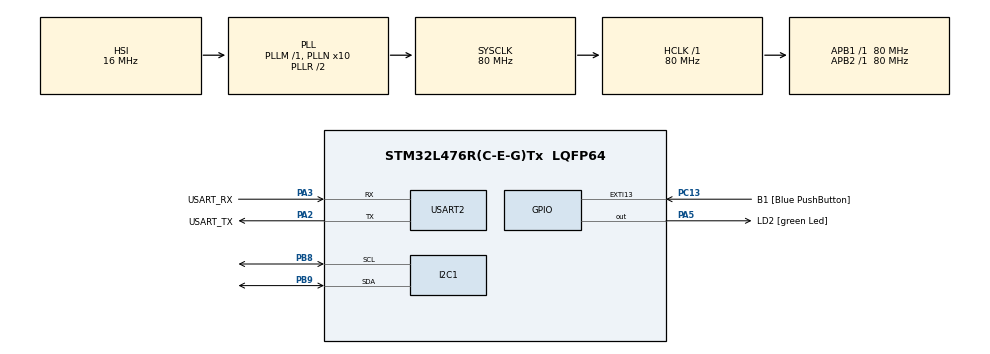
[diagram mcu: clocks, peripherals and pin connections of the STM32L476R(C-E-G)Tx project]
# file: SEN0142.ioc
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I2C1.Timing=0x00503D58
Mcu.Family=STM32L4
Mcu.Name=STM32L476R(C-E-G)Tx
Mcu.Package=LQFP64
NVIC.PriorityGroup=NVIC_PRIORITYGROUP_4
PA13\ (JTMS-SWDIO).GPIO_Label=TMS
PA13\ (JTMS-SWDIO).Mode=Serial_Wire
PA13\ (JTMS-SWDIO).Signal=SYS_JTMS-SWDIO
PA14\ (JTCK-SWCLK).GPIO_Label=TCK
PA14\ (JTCK-SWCLK).Mode=Serial_Wire
PA14\ (JTCK-SWCLK).Signal=SYS_JTCK-SWCLK
PA2.GPIO_Label=USART_TX
PA2.GPIO_Mode=GPIO_MODE_AF_PP
PA2.GPIO_PuPd=GPIO_NOPULL
PA2.GPIO_Speed=GPIO_SPEED_FREQ_VERY_HIGH
PA2.Mode=Asynchronous
PA2.Signal=USART2_TX
PA3.GPIO_Label=USART_RX
PA3.GPIO_Mode=GPIO_MODE_AF_PP
PA3.GPIO_PuPd=GPIO_NOPULL
PA3.GPIO_Speed=GPIO_SPEED_FREQ_VERY_HIGH
PA3.Mode=Asynchronous
PA3.Signal=USART2_RX
PA5.GPIO_Label=LD2 [green Led]
PA5.GPIO_ModeDefaultOutputPP=GPIO_MODE_OUTPUT_PP
PA5.GPIO_PuPd=GPIO_NOPULL
PA5.GPIO_Speed=GPIO_SPEED_FREQ_LOW
PA5.Signal=GPIO_Output
PB3\ (JTDO-TRACESWO).GPIO_Label=SWO
PB3\ (JTDO-TRACESWO).Signal=SYS_JTDO-SWO
PB8.Mode=I2C
PB8.Signal=I2C1_SCL
PB9.Mode=I2C
PB9.Signal=I2C1_SDA
PC13.GPIO_Label=B1 [Blue PushButton]
PC13.GPIO_ModeDefaultEXTI=GPIO_MODE_IT_FALLING
PC13.GPIO_PuPd=GPIO_NOPULL
PC13.Signal=GPXTI13
PC14-OSC32_IN\ (PC14).Mode=LSE-External-Oscillator
PC14-OSC32_IN\ (PC14).Signal=RCC_OSC32_IN
PC15-OSC32_OUT\ (PC15).Mode=LSE-External-Oscillator
PC15-OSC32_OUT\ (PC15).Signal=RCC_OSC32_OUT
PH0-OSC_IN\ (PH0).Signal=RCC_OSC_IN
PH1-OSC_OUT\ (PH1).Signal=RCC_OSC_OUT
ProjectManager.HeapSize=0x200
ProjectManager.StackSize=0x400
ProjectManager.TargetToolchain=STM32CubeIDE
RCC.ADCFreq_Value=64000000
RCC.AHBFreq_Value=80000000
RCC.APB1Freq_Value=80000000
RCC.APB1TimFreq_Value=80000000
RCC.APB2Freq_Value=80000000
RCC.APB2TimFreq_Value=80000000
RCC.CortexFreq_Value=80000000
RCC.HCLKFreq_Value=80000000
RCC.HSE_VALUE=8000000
RCC.HSI_VALUE=16000000
RCC.I2C1CLockSelection=RCC_I2C1CLKSOURCE_HSI
RCC.MSI_VALUE=4000000
RCC.PLLN=10
RCC.PLLSourceVirtual=RCC_PLLSOURCE_HSI
RCC.PREFETCH_ENABLE=1
RCC.SYSCLKFreq_VALUE=80000000
RCC.SYSCLKSource=RCC_SYSCLKSOURCE_PLLCLK
RCC.USBFreq_Value=64000000
RCC.VCOOutputFreq_Value=160000000
USART2.VirtualMode-Asynchronous=VM_ASYNC
board=NUCLEO-L476RG

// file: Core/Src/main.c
/* USER CODE BEGIN Header */
/**
  ******************************************************************************
  * @file           : main.c
  * @brief          : Main program body
  ******************************************************************************
  * @attention
  *
  * Copyright (c) 2026 STMicroelectronics.
  * All rights reserved.
  *
  * This software is licensed under terms that can be found in the LICENSE file
  * in the root directory of this software component.
  * If no LICENSE file comes with this software, it is provided AS-IS.
  *
  ******************************************************************************
  */
/* USER CODE END Header */
#include "main.h"

/* USER CODE BEGIN Includes */
#include "SEN0142.h"
#include "stdio.h"
#include "string.h"

/* USER CODE END Includes */

I2C_HandleTypeDef hi2c1;

UART_HandleTypeDef huart2;

/* USER CODE BEGIN PV */
float Ax, Ay, Az;
float Gx, Gy, Gz;
float temperature;

/* USER CODE END PV */

void SystemClock_Config(void);
static void MX_GPIO_Init(void);
static void MX_USART2_UART_Init(void);
static void MX_I2C1_Init(void);

int main(void)
{

  /* MCU Configuration--------------------------------------------------------*/

  /* Reset of all peripherals, Initializes the Flash interface and the Systick. */
  HAL_Init();

  /* Configure the system clock */
  SystemClock_Config();

  /* Initialize all configured peripherals */
  MX_GPIO_Init();
  MX_USART2_UART_Init();
  MX_I2C1_Init();
  /* USER CODE BEGIN 2 */

  MPU6050_Init();

  char msg[200];

  /* USER CODE END 2 */

  /* Infinite loop */
  while (1)
  {

    /* USER CODE BEGIN 3 */
	  MPU6050_Read_Accel(&Ax, &Ay, &Az);
	  MPU6050_Read_Gyro(&Gx, &Gy, &Gz);
	  MPU6050_Read_Temp(&temperature);

	  snprintf(msg, sizeof(msg),
	               "Accel: X=%.2f Y=%.2f Z=%.2f | Gyro: X=%.1f Y=%.1f Z=%.1f | Temp=%.2f\r\n",
	               Ax, Ay, Az, Gx, Gy, Gz, temperature);

	  HAL_UART_Transmit(&huart2, (uint8_t*)msg, strlen(msg), 100);

	  HAL_Delay(500);
  }
  /* USER CODE END 3 */
}

void SystemClock_Config(void)
{
  RCC_OscInitTypeDef RCC_OscInitStruct = {0};
  RCC_ClkInitTypeDef RCC_ClkInitStruct = {0};

  /** Configure the main internal regulator output voltage
  */
  if (HAL_PWREx_ControlVoltageScaling(PWR_REGULATOR_VOLTAGE_SCALE1) != HAL_OK)
  {
    Error_Handler();
  }

  /** Initializes the RCC Oscillators according to the specified parameters
  * in the RCC_OscInitTypeDef structure.
  */
  RCC_OscInitStruct.OscillatorType = RCC_OSCILLATORTYPE_HSI;
  RCC_OscInitStruct.HSIState = RCC_HSI_ON;
  RCC_OscInitStruct.HSICalibrationValue = RCC_HSICALIBRATION_DEFAULT;
  RCC_OscInitStruct.PLL.PLLState = RCC_PLL_ON;
  RCC_OscInitStruct.PLL.PLLSource = RCC_PLLSOURCE_HSI;
  RCC_OscInitStruct.PLL.PLLM = 1;
  RCC_OscInitStruct.PLL.PLLN = 10;
  RCC_OscInitStruct.PLL.PLLP = RCC_PLLP_DIV7;
  RCC_OscInitStruct.PLL.PLLQ = RCC_PLLQ_DIV2;
  RCC_OscInitStruct.PLL.PLLR = RCC_PLLR_DIV2;
  if (HAL_RCC_OscConfig(&RCC_OscInitStruct) != HAL_OK)
  {
    Error_Handler();
  }

  /** Initializes the CPU, AHB and APB buses clocks
  */
  RCC_ClkInitStruct.ClockType = RCC_CLOCKTYPE_HCLK|RCC_CLOCKTYPE_SYSCLK
                              |RCC_CLOCKTYPE_PCLK1|RCC_CLOCKTYPE_PCLK2;
  RCC_ClkInitStruct.SYSCLKSource = RCC_SYSCLKSOURCE_PLLCLK;
  RCC_ClkInitStruct.AHBCLKDivider = RCC_SYSCLK_DIV1;
  RCC_ClkInitStruct.APB1CLKDivider = RCC_HCLK_DIV1;
  RCC_ClkInitStruct.APB2CLKDivider = RCC_HCLK_DIV1;

  if (HAL_RCC_ClockConfig(&RCC_ClkInitStruct, FLASH_LATENCY_4) != HAL_OK)
  {
    Error_Handler();
  }
}

static void MX_I2C1_Init(void)
{

  hi2c1.Instance = I2C1;
  hi2c1.Init.Timing = 0x00503D58;
  hi2c1.Init.OwnAddress1 = 0;
  hi2c1.Init.AddressingMode = I2C_ADDRESSINGMODE_7BIT;
  hi2c1.Init.DualAddressMode = I2C_DUALADDRESS_DISABLE;
  hi2c1.Init.OwnAddress2 = 0;
  hi2c1.Init.OwnAddress2Masks = I2C_OA2_NOMASK;
  hi2c1.Init.GeneralCallMode = I2C_GENERALCALL_DISABLE;
  hi2c1.Init.NoStretchMode = I2C_NOSTRETCH_DISABLE;
  if (HAL_I2C_Init(&hi2c1) != HAL_OK)
  {
    Error_Handler();
  }

  /** Configure Analogue filter
  */
  if (HAL_I2CEx_ConfigAnalogFilter(&hi2c1, I2C_ANALOGFILTER_ENABLE) != HAL_OK)
  {
    Error_Handler();
  }

  /** Configure Digital filter
  */
  if (HAL_I2CEx_ConfigDigitalFilter(&hi2c1, 0) != HAL_OK)
  {
    Error_Handler();
  }

}

static void MX_USART2_UART_Init(void)
{

  huart2.Instance = USART2;
  huart2.Init.BaudRate = 115200;
  huart2.Init.WordLength = UART_WORDLENGTH_8B;
  huart2.Init.StopBits = UART_STOPBITS_1;
  huart2.Init.Parity = UART_PARITY_NONE;
  huart2.Init.Mode = UART_MODE_TX_RX;
  huart2.Init.HwFlowCtl = UART_HWCONTROL_NONE;
  huart2.Init.OverSampling = UART_OVERSAMPLING_16;
  huart2.Init.OneBitSampling = UART_ONE_BIT_SAMPLE_DISABLE;
  huart2.AdvancedInit.AdvFeatureInit = UART_ADVFEATURE_NO_INIT;
  if (HAL_UART_Init(&huart2) != HAL_OK)
  {
    Error_Handler();
  }

}

static void MX_GPIO_Init(void)
{
  GPIO_InitTypeDef GPIO_InitStruct = {0};

  /* GPIO Ports Clock Enable */
  __HAL_RCC_GPIOC_CLK_ENABLE();
  __HAL_RCC_GPIOH_CLK_ENABLE();
  __HAL_RCC_GPIOA_CLK_ENABLE();
  __HAL_RCC_GPIOB_CLK_ENABLE();

  /*Configure GPIO pin Output Level */
  HAL_GPIO_WritePin(LD2_GPIO_Port, LD2_Pin, GPIO_PIN_RESET);

  /*Configure GPIO pin : B1_Pin */
  GPIO_InitStruct.Pin = B1_Pin;
  GPIO_InitStruct.Mode = GPIO_MODE_IT_FALLING;
  GPIO_InitStruct.Pull = GPIO_NOPULL;
  HAL_GPIO_Init(B1_GPIO_Port, &GPIO_InitStruct);

  /*Configure GPIO pin : LD2_Pin */
  GPIO_InitStruct.Pin = LD2_Pin;
  GPIO_InitStruct.Mode = GPIO_MODE_OUTPUT_PP;
  GPIO_InitStruct.Pull = GPIO_NOPULL;
  GPIO_InitStruct.Speed = GPIO_SPEED_FREQ_LOW;
  HAL_GPIO_Init(LD2_GPIO_Port, &GPIO_InitStruct);

}

void Error_Handler(void)
{
  __disable_irq();
  while (1)
  {
  }
}
